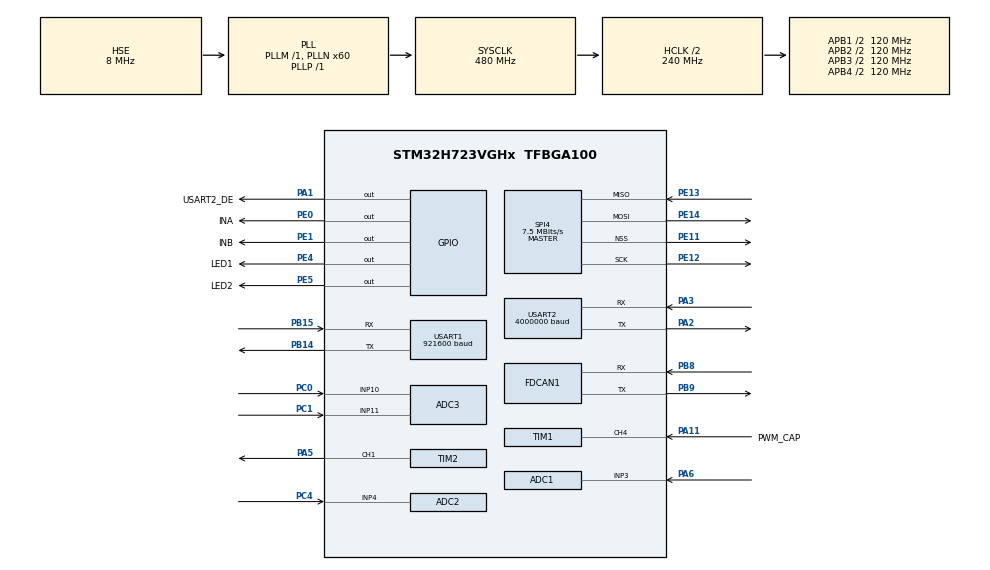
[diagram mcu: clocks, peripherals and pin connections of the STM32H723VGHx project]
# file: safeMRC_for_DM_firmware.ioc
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ADC1.Channel-0\#ChannelRegularConversion=ADC_CHANNEL_3
ADC1.ContinuousConvMode=ENABLE
ADC1.ConversionDataManagement=ADC_CONVERSIONDATA_DMA_CIRCULAR
ADC1.NbrOfConversionFlag=1
ADC1.OffsetNumber-0\#ChannelRegularConversion=ADC_OFFSET_NONE
ADC1.OffsetSignedSaturation-0\#ChannelRegularConversion=DISABLE
ADC1.OversamplingMode=ENABLE
ADC1.Rank-0\#ChannelRegularConversion=1
ADC1.Ratio=16
ADC1.RightBitShift=ADC_RIGHTBITSHIFT_4
ADC1.SamplingTime-0\#ChannelRegularConversion=ADC_SAMPLETIME_64CYCLES_5
ADC1.master=1
ADC2.Channel-1\#ChannelRegularConversion=ADC_CHANNEL_4
ADC2.ContinuousConvMode=ENABLE
ADC2.NbrOfConversionFlag=1
ADC2.OffsetNumber-1\#ChannelRegularConversion=ADC_OFFSET_NONE
ADC2.OffsetSignedSaturation-1\#ChannelRegularConversion=DISABLE
ADC2.OversamplingMode=ENABLE
ADC2.Rank-1\#ChannelRegularConversion=1
ADC2.RightBitShift=ADC_RIGHTBITSHIFT_4
ADC2.SamplingTime-1\#ChannelRegularConversion=ADC_SAMPLETIME_1CYCLE_5
ADC3.Channel-1\#ChannelRegularConversion=ADC_CHANNEL_11
ADC3.NbrOfConversionFlag=1
ADC3.OffsetNumber-1\#ChannelRegularConversion=ADC_OFFSET_NONE
ADC3.OffsetSign-1\#ChannelRegularConversion=ADC3_OFFSET_SIGN_NEGATIVE
ADC3.Rank-1\#ChannelRegularConversion=1
ADC3.SamplingTime-1\#ChannelRegularConversion=ADC3_SAMPLETIME_2CYCLES_5
CORTEX_M7.AccessPermission-Cortex_Memory_Protection_Unit_Region0_Settings=MPU_REGION_PRIV_RO
CORTEX_M7.AccessPermission_Spec=MPU_REGION_FULL_ACCESS
CORTEX_M7.BaseAddress-Cortex_Memory_Protection_Unit_Region0_Settings=0x08000000
CORTEX_M7.BaseAddress_Spec=0x024000000
CORTEX_M7.CPU_DCache=Disabled
CORTEX_M7.CPU_ICache=Disabled
CORTEX_M7.DisableExec_Spec=MPU_INSTRUCTION_ACCESS_ENABLE
CORTEX_M7.Enable-Cortex_Memory_Protection_Unit_Region0_Settings=MPU_REGION_ENABLE
CORTEX_M7.IsBufferable_Spec=MPU_ACCESS_BUFFERABLE
CORTEX_M7.IsCacheable-Cortex_Memory_Protection_Unit_Region0_Settings=MPU_ACCESS_CACHEABLE
CORTEX_M7.IsCacheable_Spec=MPU_ACCESS_CACHEABLE
CORTEX_M7.IsShareable_Spec=MPU_ACCESS_NOT_SHAREABLE
CORTEX_M7.MPU_Control=__NULL
CORTEX_M7.Size-Cortex_Memory_Protection_Unit_Region0_Settings=MPU_REGION_SIZE_1MB
CORTEX_M7.Size_Spec=MPU_REGION_SIZE_512MB
CORTEX_M7.SubRegionDisable_Spec=0x00
CORTEX_M7.TypeExtField-Cortex_Memory_Protection_Unit_Region0_Settings=MPU_TEX_LEVEL1
CORTEX_M7.TypeExtField_Spec=MPU_TEX_LEVEL1
CORTEX_M7.default_mode_Activation=0
Dma.ADC1.0.Direction=DMA_PERIPH_TO_MEMORY
Dma.ADC1.0.EventEnable=DISABLE
Dma.ADC1.0.FIFOMode=DMA_FIFOMODE_DISABLE
Dma.ADC1.0.Instance=DMA1_Stream0
Dma.ADC1.0.MemDataAlignment=DMA_MDATAALIGN_HALFWORD
Dma.ADC1.0.MemInc=DMA_MINC_ENABLE
Dma.ADC1.0.Mode=DMA_CIRCULAR
Dma.ADC1.0.PeriphDataAlignment=DMA_PDATAALIGN_HALFWORD
Dma.ADC1.0.PeriphInc=DMA_PINC_DISABLE
Dma.ADC1.0.Polarity=HAL_DMAMUX_REQ_GEN_RISING
Dma.ADC1.0.Priority=DMA_PRIORITY_LOW
Dma.ADC1.0.RequestNumber=1
Dma.ADC1.0.SignalID=NONE
Dma.ADC1.0.SyncEnable=DISABLE
Dma.ADC1.0.SyncPolarity=HAL_DMAMUX_SYNC_NO_EVENT
Dma.ADC1.0.SyncRequestNumber=1
Dma.ADC1.0.SyncSignalID=NONE
Dma.ADC2.7.Direction=DMA_PERIPH_TO_MEMORY
Dma.ADC2.7.EventEnable=DISABLE
Dma.ADC2.7.FIFOMode=DMA_FIFOMODE_DISABLE
Dma.ADC2.7.Instance=DMA1_Stream5
Dma.ADC2.7.MemDataAlignment=DMA_MDATAALIGN_HALFWORD
Dma.ADC2.7.MemInc=DMA_MINC_ENABLE
Dma.ADC2.7.Mode=DMA_CIRCULAR
Dma.ADC2.7.PeriphDataAlignment=DMA_PDATAALIGN_HALFWORD
Dma.ADC2.7.PeriphInc=DMA_PINC_DISABLE
Dma.ADC2.7.Polarity=HAL_DMAMUX_REQ_GEN_RISING
Dma.ADC2.7.Priority=DMA_PRIORITY_LOW
Dma.ADC2.7.RequestNumber=1
Dma.ADC2.7.SignalID=NONE
Dma.ADC2.7.SyncEnable=DISABLE
Dma.ADC2.7.SyncPolarity=HAL_DMAMUX_SYNC_NO_EVENT
Dma.ADC2.7.SyncRequestNumber=1
Dma.ADC2.7.SyncSignalID=NONE
Dma.Request0=ADC1
Dma.Request1=SPI4_RX
Dma.Request2=SPI4_TX
Dma.Request3=USART1_RX
Dma.Request4=USART1_TX
Dma.Request5=USART2_RX
Dma.Request6=USART2_TX
Dma.Request7=ADC2
Dma.SPI4_RX.1.Direction=DMA_PERIPH_TO_MEMORY
Dma.SPI4_RX.1.EventEnable=DISABLE
Dma.SPI4_RX.1.FIFOMode=DMA_FIFOMODE_DISABLE
Dma.SPI4_RX.1.Instance=DMA2_Stream3
Dma.SPI4_RX.1.MemDataAlignment=DMA_MDATAALIGN_BYTE
Dma.SPI4_RX.1.MemInc=DMA_MINC_ENABLE
Dma.SPI4_RX.1.Mode=DMA_NORMAL
Dma.SPI4_RX.1.PeriphDataAlignment=DMA_PDATAALIGN_BYTE
Dma.SPI4_RX.1.PeriphInc=DMA_PINC_DISABLE
Dma.SPI4_RX.1.Polarity=HAL_DMAMUX_REQ_GEN_RISING
Dma.SPI4_RX.1.Priority=DMA_PRIORITY_MEDIUM
Dma.SPI4_RX.1.RequestNumber=1
Dma.SPI4_RX.1.SignalID=NONE
Dma.SPI4_RX.1.SyncEnable=DISABLE
Dma.SPI4_RX.1.SyncPolarity=HAL_DMAMUX_SYNC_NO_EVENT
Dma.SPI4_RX.1.SyncRequestNumber=1
Dma.SPI4_RX.1.SyncSignalID=NONE
Dma.SPI4_TX.2.Direction=DMA_MEMORY_TO_PERIPH
Dma.SPI4_TX.2.EventEnable=DISABLE
Dma.SPI4_TX.2.FIFOMode=DMA_FIFOMODE_DISABLE
Dma.SPI4_TX.2.Instance=DMA2_Stream4
Dma.SPI4_TX.2.MemDataAlignment=DMA_MDATAALIGN_BYTE
Dma.SPI4_TX.2.MemInc=DMA_MINC_ENABLE
Dma.SPI4_TX.2.Mode=DMA_NORMAL
Dma.SPI4_TX.2.PeriphDataAlignment=DMA_PDATAALIGN_BYTE
Dma.SPI4_TX.2.PeriphInc=DMA_PINC_DISABLE
Dma.SPI4_TX.2.Polarity=HAL_DMAMUX_REQ_GEN_RISING
Dma.SPI4_TX.2.Priority=DMA_PRIORITY_MEDIUM
Dma.SPI4_TX.2.RequestNumber=1
Dma.SPI4_TX.2.SignalID=NONE
Dma.SPI4_TX.2.SyncEnable=DISABLE
Dma.SPI4_TX.2.SyncPolarity=HAL_DMAMUX_SYNC_NO_EVENT
Dma.SPI4_TX.2.SyncRequestNumber=1
Dma.SPI4_TX.2.SyncSignalID=NONE
Dma.USART1_RX.3.Direction=DMA_PERIPH_TO_MEMORY
Dma.USART1_RX.3.EventEnable=DISABLE
Dma.USART1_RX.3.FIFOMode=DMA_FIFOMODE_DISABLE
Dma.USART1_RX.3.Instance=DMA1_Stream1
Dma.USART1_RX.3.MemDataAlignment=DMA_MDATAALIGN_BYTE
Dma.USART1_RX.3.MemInc=DMA_MINC_ENABLE
Dma.USART1_RX.3.Mode=DMA_NORMAL
Dma.USART1_RX.3.PeriphDataAlignment=DMA_PDATAALIGN_BYTE
Dma.USART1_RX.3.PeriphInc=DMA_PINC_DISABLE
Dma.USART1_RX.3.Polarity=HAL_DMAMUX_REQ_GEN_RISING
Dma.USART1_RX.3.Priority=DMA_PRIORITY_MEDIUM
Dma.USART1_RX.3.RequestNumber=1
Dma.USART1_RX.3.SignalID=NONE
Dma.USART1_RX.3.SyncEnable=DISABLE
Dma.USART1_RX.3.SyncPolarity=HAL_DMAMUX_SYNC_NO_EVENT
Dma.USART1_RX.3.SyncRequestNumber=1
Dma.USART1_RX.3.SyncSignalID=NONE
Dma.USART1_TX.4.Direction=DMA_MEMORY_TO_PERIPH
Dma.USART1_TX.4.EventEnable=DISABLE
Dma.USART1_TX.4.FIFOMode=DMA_FIFOMODE_DISABLE
Dma.USART1_TX.4.Instance=DMA1_Stream2
Dma.USART1_TX.4.MemDataAlignment=DMA_MDATAALIGN_BYTE
Dma.USART1_TX.4.MemInc=DMA_MINC_ENABLE
Dma.USART1_TX.4.Mode=DMA_NORMAL
Dma.USART1_TX.4.PeriphDataAlignment=DMA_PDATAALIGN_BYTE
Dma.USART1_TX.4.PeriphInc=DMA_PINC_DISABLE
Dma.USART1_TX.4.Polarity=HAL_DMAMUX_REQ_GEN_RISING
Dma.USART1_TX.4.Priority=DMA_PRIORITY_MEDIUM
Dma.USART1_TX.4.RequestNumber=1
Dma.USART1_TX.4.SignalID=NONE
Dma.USART1_TX.4.SyncEnable=DISABLE
Dma.USART1_TX.4.SyncPolarity=HAL_DMAMUX_SYNC_NO_EVENT
Dma.USART1_TX.4.SyncRequestNumber=1
Dma.USART1_TX.4.SyncSignalID=NONE
Dma.USART2_RX.5.Direction=DMA_PERIPH_TO_MEMORY
Dma.USART2_RX.5.EventEnable=DISABLE
Dma.USART2_RX.5.FIFOMode=DMA_FIFOMODE_DISABLE
Dma.USART2_RX.5.Instance=DMA2_Stream0
Dma.USART2_RX.5.MemDataAlignment=DMA_MDATAALIGN_BYTE
Dma.USART2_RX.5.MemInc=DMA_MINC_ENABLE
Dma.USART2_RX.5.Mode=DMA_NORMAL
Dma.USART2_RX.5.PeriphDataAlignment=DMA_PDATAALIGN_BYTE
Dma.USART2_RX.5.PeriphInc=DMA_PINC_DISABLE
Dma.USART2_RX.5.Polarity=HAL_DMAMUX_REQ_GEN_RISING
Dma.USART2_RX.5.Priority=DMA_PRIORITY_VERY_HIGH
Dma.USART2_RX.5.RequestNumber=1
Dma.USART2_RX.5.SignalID=NONE
Dma.USART2_RX.5.SyncEnable=DISABLE
Dma.USART2_RX.5.SyncPolarity=HAL_DMAMUX_SYNC_NO_EVENT
Dma.USART2_RX.5.SyncRequestNumber=1
Dma.USART2_RX.5.SyncSignalID=NONE
Dma.USART2_TX.6.Direction=DMA_MEMORY_TO_PERIPH
Dma.USART2_TX.6.EventEnable=DISABLE
Dma.USART2_TX.6.FIFOMode=DMA_FIFOMODE_DISABLE
Dma.USART2_TX.6.Instance=DMA2_Stream1
Dma.USART2_TX.6.MemDataAlignment=DMA_MDATAALIGN_BYTE
Dma.USART2_TX.6.MemInc=DMA_MINC_ENABLE
Dma.USART2_TX.6.Mode=DMA_NORMAL
Dma.USART2_TX.6.PeriphDataAlignment=DMA_PDATAALIGN_BYTE
Dma.USART2_TX.6.PeriphInc=DMA_PINC_DISABLE
Dma.USART2_TX.6.Polarity=HAL_DMAMUX_REQ_GEN_RISING
Dma.USART2_TX.6.Priority=DMA_PRIORITY_HIGH
Dma.USART2_TX.6.RequestNumber=1
Dma.USART2_TX.6.SignalID=NONE
Dma.USART2_TX.6.SyncEnable=DISABLE
Dma.USART2_TX.6.SyncPolarity=HAL_DMAMUX_SYNC_NO_EVENT
Dma.USART2_TX.6.SyncRequestNumber=1
Dma.USART2_TX.6.SyncSignalID=NONE
FDCAN1.AutoRetransmission=ENABLE
FDCAN1.CalculateBaudRateNominal=1000000
FDCAN1.CalculateTimeBitNominal=1000
FDCAN1.CalculateTimeQuantumNominal=25.0
FDCAN1.DataPrescaler=3
FDCAN1.DataSyncJumpWidth=7
FDCAN1.DataTimeSeg1=32
FDCAN1.DataTimeSeg2=7
FDCAN1.NominalPrescaler=3
FDCAN1.NominalSyncJumpWidth=7
FDCAN1.NominalTimeSeg1=32
FDCAN1.NominalTimeSeg2=7
FDCAN1.ProtocolException=ENABLE
FDCAN1.RxFifo0ElmtsNbr=8
FDCAN1.StdFiltersNbr=1
FDCAN1.TxFifoQueueElmtsNbr=8
Mcu.Family=STM32H7
Mcu.Name=STM32H723VGHx
Mcu.Package=TFBGA100
NVIC.DMA1_Stream0_IRQn=true\:0\:0\:false\:false\:true\:false\:true\:true
NVIC.DMA1_Stream1_IRQn=true\:0\:0\:false\:false\:true\:false\:true\:true
NVIC.DMA1_Stream2_IRQn=true\:0\:0\:false\:false\:true\:false\:true\:true
NVIC.DMA1_Stream5_IRQn=true\:0\:0\:false\:false\:true\:false\:true\:true
NVIC.DMA2_Stream0_IRQn=true\:0\:0\:false\:false\:true\:false\:true\:true
NVIC.DMA2_Stream1_IRQn=true\:0\:0\:false\:false\:true\:false\:true\:true
NVIC.DMA2_Stream3_IRQn=true\:0\:0\:false\:false\:true\:false\:true\:true
NVIC.DMA2_Stream4_IRQn=true\:0\:0\:false\:false\:true\:false\:true\:true
NVIC.FDCAN1_IT0_IRQn=true\:0\:0\:false\:false\:true\:true\:true\:true
NVIC.FDCAN1_IT1_IRQn=true\:0\:0\:false\:false\:true\:true\:true\:true
NVIC.FDCAN_CAL_IRQn=true\:0\:0\:false\:false\:true\:true\:true\:true
NVIC.PriorityGroup=NVIC_PRIORITYGROUP_4
NVIC.SPI4_IRQn=true\:0\:0\:false\:false\:true\:false\:true\:true
NVIC.TIM1_CC_IRQn=true\:3\:0\:true\:false\:true\:true\:true\:true
NVIC.TIM4_IRQn=true\:6\:0\:true\:false\:true\:true\:true\:true
NVIC.TIM6_DAC_IRQn=true\:6\:0\:true\:false\:true\:true\:true\:true
NVIC.USART1_IRQn=true\:7\:0\:true\:false\:true\:false\:true\:true
NVIC.USART2_IRQn=true\:3\:0\:true\:false\:true\:false\:true\:true
PA1.GPIO_Label=USART2_DE
PA1.GPIO_Speed=GPIO_SPEED_FREQ_VERY_HIGH
PA1.PinState=GPIO_PIN_RESET
PA1.Signal=GPIO_Output
PA11.GPIO_Label=PWM_CAP
PA11.Signal=S_TIM1_CH4
PA13(JTMS/SWDIO).Mode=Serial_Wire
PA13(JTMS/SWDIO).Signal=DEBUG_JTMS-SWDIO
PA14(JTCK/SWCLK).Mode=Serial_Wire
PA14(JTCK/SWCLK).Signal=DEBUG_JTCK-SWCLK
PA2.GPIO_PuPd=GPIO_NOPULL
PA2.GPIO_Speed=GPIO_SPEED_FREQ_VERY_HIGH
PA2.Mode=Asynchronous
PA2.Signal=USART2_TX
PA3.GPIO_ModeDefaultPP=GPIO_MODE_AF_PP
PA3.GPIO_PuPd=GPIO_PULLUP
PA3.GPIO_Speed=GPIO_SPEED_FREQ_VERY_HIGH
PA3.Mode=Asynchronous
PA3.Signal=USART2_RX
PA5.Signal=S_TIM2_CH1_ETR
PA6.Signal=ADCx_INP3
PB14.GPIO_PuPd=GPIO_PULLUP
PB14.GPIO_Speed=GPIO_SPEED_FREQ_VERY_HIGH
PB14.Mode=Asynchronous
PB14.Signal=USART1_TX
PB15.Mode=Asynchronous
PB15.Signal=USART1_RX
PB8.Mode=FDCAN_Activate
PB8.Signal=FDCAN1_RX
PB9.Mode=FDCAN_Activate
PB9.Signal=FDCAN1_TX
PC0.Signal=ADCx_INP10
PC1.Signal=ADCx_INP11
PC4.Signal=ADCx_INP4
PE0.GPIO_Label=INA
PE0.GPIO_PuPd=GPIO_PULLDOWN
PE0.GPIO_Speed=GPIO_SPEED_FREQ_HIGH
PE0.Signal=GPIO_Output
PE1.GPIO_Label=INB
PE1.GPIO_PuPd=GPIO_PULLDOWN
PE1.GPIO_Speed=GPIO_SPEED_FREQ_HIGH
PE1.Signal=GPIO_Output
PE11.Mode=NSS_Signal_Hard_Output
PE11.Signal=SPI4_NSS
PE12.GPIO_PuPd=GPIO_PULLUP
PE12.GPIO_Speed=GPIO_SPEED_FREQ_HIGH
PE12.Mode=Full_Duplex_Master
PE12.Signal=SPI4_SCK
PE13.GPIO_Speed=GPIO_SPEED_FREQ_HIGH
PE13.Mode=Full_Duplex_Master
PE13.Signal=SPI4_MISO
PE14.GPIO_PuPd=GPIO_PULLUP
PE14.GPIO_Speed=GPIO_SPEED_FREQ_HIGH
PE14.Mode=Full_Duplex_Master
PE14.Signal=SPI4_MOSI
PE4.GPIO_Label=LED1
PE4.GPIO_PuPd=GPIO_PULLDOWN
PE4.Signal=GPIO_Output
PE5.GPIO_Label=LED2
PE5.GPIO_PuPd=GPIO_PULLDOWN
PE5.Signal=GPIO_Output
PH0-OSC_IN.Mode=HSE-External-Oscillator
PH0-OSC_IN.Signal=RCC_OSC_IN
PH1-OSC_OUT.Mode=HSE-External-Oscillator
PH1-OSC_OUT.Signal=RCC_OSC_OUT
ProjectManager.HeapSize=0x200
ProjectManager.StackSize=0x400
ProjectManager.TargetToolchain=CMake
RCC.ADCFreq_Value=96000000
RCC.APB1Freq_Value=120000000
RCC.APB2Freq_Value=120000000
RCC.APB3Freq_Value=120000000
RCC.APB4Freq_Value=120000000
RCC.CortexFreq_Value=480000000
RCC.D1PPRE=RCC_APB3_DIV2
RCC.D2PPRE1=RCC_APB1_DIV2
RCC.D2PPRE2=RCC_APB2_DIV2
RCC.D3PPRE=RCC_APB4_DIV2
RCC.DIVM1=1
RCC.DIVM2=1
RCC.DIVN1=60
RCC.DIVN2=24
RCC.DIVP1=1
RCC.DIVQ1=4
RCC.HCLKFreq_Value=240000000
RCC.HPRE=RCC_HCLK_DIV2
RCC.HSE_VALUE=8000000
RCC.PLL2FRACN=0
RCC.PLL3FRACN=0
RCC.PLLFRACN=0
RCC.PLLSourceVirtual=RCC_PLLSOURCE_HSE
RCC.SYSCLKFreq_VALUE=480000000
RCC.SYSCLKSource=RCC_SYSCLKSOURCE_PLLCLK
RCC.USBFreq_Value=120000000
SH.ADCx_INP10.0=ADC3_INP10,IN10-Single-Ended
SH.ADCx_INP11.0=ADC3_INP11,IN11-Single-Ended
SH.ADCx_INP3.0=ADC1_INP3,IN3-Single-Ended
SH.ADCx_INP4.0=ADC2_INP4,IN4-Single-Ended
SH.S_TIM1_CH4.0=TIM1_CH4,Input_Capture4_from_TI4
SH.S_TIM2_CH1_ETR.0=TIM2_CH1,PWM Generation1 CH1
SPI4.BaudRatePrescaler=SPI_BAUDRATEPRESCALER_16
SPI4.CLKPhase=SPI_PHASE_2EDGE
SPI4.CLKPolarity=SPI_POLARITY_HIGH
SPI4.CalculateBaudRate=7.5 MBits/s
SPI4.DataSize=SPI_DATASIZE_8BIT
SPI4.Direction=SPI_DIRECTION_2LINES
SPI4.Mode=SPI_MODE_MASTER
SPI4.VirtualNSS=VM_NSSHARD
SPI4.VirtualType=VM_MASTER
TIM1.Channel-Input_Capture4_from_TI4=TIM_CHANNEL_4
TIM1.Period=0xffff
TIM1.Prescaler=3
TIM2.Channel-PWM\ Generation1\ CH1=TIM_CHANNEL_1
TIM2.Period=0xffff
TIM2.Prescaler=9
TIM4.Period=23999
TIM6.Period=23999
TIM6.Prescaler=9
USART1.BaudRate=921600
USART1.VirtualMode-Asynchronous=VM_ASYNC
USART2.BaudRate=4000000
USART2.VirtualMode-Asynchronous=VM_ASYNC
VP_MEMORYMAP_VS_MEMORYMAP.Mode=CurAppReg
VP_TIM1_VS_ClockSourceINT.Mode=Internal
VP_TIM2_VS_ClockSourceINT.Mode=Internal
VP_TIM4_VS_ClockSourceINT.Mode=Internal
VP_TIM6_VS_ClockSourceINT.Mode=Enable_Timer
board=custom

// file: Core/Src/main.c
/* USER CODE BEGIN Header */
/**
  ******************************************************************************
  * @file           : main.c
  * @brief          : Main program body
  ******************************************************************************
  * @attention
  *
  * Copyright (c) 2025 STMicroelectronics.
  * All rights reserved.
  *
  * This software is licensed under terms that can be found in the LICENSE file
  * in the root directory of this software component.
  * If no LICENSE file comes with this software, it is provided AS-IS.
  *
  ******************************************************************************
  */
/* USER CODE END Header */
#include "main.h"
#include "adc.h"
#include "dma.h"
#include "fdcan.h"
#include "memorymap.h"
#include "spi.h"
#include "tim.h"
#include "usart.h"
#include "gpio.h"

/* USER CODE BEGIN Includes */
#include "drv_mrc.h"
#include "stdio.h"
#include "string.h"
#include "flash.h"
#include "mrc_debugcli.h"
#include "bsp_fdcan.h"
#include "mrc_com_backend.h"
#include "can_com.h"
/* USER CODE END Includes */

/* USER CODE BEGIN PTD */
Device_MRC_t MRC;
/* USER CODE END PTD */

void SystemClock_Config(void);
void PeriphCommonClock_Config(void);

int main(void)
{

  /* MCU Configuration--------------------------------------------------------*/

  /* Reset of all peripherals, Initializes the Flash interface and the Systick. */
  HAL_Init();

  /* Configure the system clock */
  SystemClock_Config();

  /* Configure the peripherals common clocks */
  PeriphCommonClock_Config();

  /* Initialize all configured peripherals */
  MX_GPIO_Init();
  MX_DMA_Init();
  MX_ADC1_Init();
  MX_SPI4_Init();
  MX_TIM1_Init();
  MX_TIM2_Init();
  MX_TIM4_Init();
  MX_TIM6_Init();
  MX_USART1_UART_Init();
  MX_USART2_UART_Init();
  MX_ADC2_Init();
  MX_ADC3_Init();
  MX_FDCAN1_Init();
  /* USER CODE BEGIN 2 */
  bsp_fdcan_set_baud(&hfdcan1, CAN_CLASS, CAN_BR_1M);
  bsp_can_init();
  MRC_Init((uint8_t *)"safeMRC", &MRC, 1);
  // 初始化UART4调试指令集
  MRC_DebugCLI_Init(&huart1);
  /* USER CODE END 2 */

  /* Infinite loop */
  while (1)
  {

    /* USER CODE BEGIN 3 */

    if(MRC.control_loop_flag == 1) // 1kHz contorl loop
    {
      MRC.control_loop_flag = 0;
      MRC_StateMachine_Task1ms(&MRC.statemachine);
      //printf("a, ,b, c: %.3f, %.3f, %.3f\n", MRC.filtered_coil_current, MRC.des_coil_current, MRC.com.fbk_msg.present_current);
      // printf("Actual coil current, filtered coil current: %.3f, %.3f\n", MRC.actual_coil_current, MRC.filtered_coil_current);
      //      MRC.print_count++;
      //      if(MRC.print_count == 1000)
      //      {
        //        MRC.print_count = 0;
        //        printf("angle1, angle2, freq: %.6f, %.6f, %.1f\n", MRC.Encoder.raw_continuous_angle, MRC.Encoder.filtered_angle, MRC.Encoder.real_freq);
        //      }
        // printf("Coil current, AnglarVelocity, Encoder postion(deg) and filtered_angle(deg) with period and high_time: %.3f, %.3f, %.3f, %.3f, %d, %d\n", MRC.actual_coil_current, MRC.Encoder.AngularVelocity, MRC.Encoder.raw_angle, MRC.Encoder.filtered_angle, MRC.Encoder.Encoder_Duty.Period, MRC.Encoder.Encoder_Duty.HighTime);
      }
      if(MRC.coil_current_update_flag == 1) // 10kHZ coil current update
      {
        // if(MRC.Encoder.Encoder_Duty.CapFlag == 1)
        // {
          //   Encoder_Calibrate_n_Filter(&MRC.Encoder);
          // }

      MRC_CoilCurrentControl_Update(&MRC);
#if (MRC_COM_BACKEND == MRC_COM_RS485)
      MRC_Com_Process(&MRC);
#elif (MRC_COM_BACKEND == MRC_COM_CAN)
      MRC_Can_Process(&MRC);
#endif
      Encoder_Calibrate_n_Filter(&MRC.Encoder);
      //MRC_collision_detect(&MRC);
      MRC.filtered_coil_current = MRC_Update_Coil_Current(&MRC);
      MRC.coil_current_update_flag = 0;
    }
  }
  /* USER CODE END 3 */
}

void SystemClock_Config(void)
{
  RCC_OscInitTypeDef RCC_OscInitStruct = {0};
  RCC_ClkInitTypeDef RCC_ClkInitStruct = {0};

  /** Supply configuration update enable
  */
  HAL_PWREx_ConfigSupply(PWR_LDO_SUPPLY);

  /** Configure the main internal regulator output voltage
  */
  __HAL_PWR_VOLTAGESCALING_CONFIG(PWR_REGULATOR_VOLTAGE_SCALE0);

  while(!__HAL_PWR_GET_FLAG(PWR_FLAG_VOSRDY)) {}

  /** Initializes the RCC Oscillators according to the specified parameters
  * in the RCC_OscInitTypeDef structure.
  */
  RCC_OscInitStruct.OscillatorType = RCC_OSCILLATORTYPE_HSE;
  RCC_OscInitStruct.HSEState = RCC_HSE_ON;
  RCC_OscInitStruct.PLL.PLLState = RCC_PLL_ON;
  RCC_OscInitStruct.PLL.PLLSource = RCC_PLLSOURCE_HSE;
  RCC_OscInitStruct.PLL.PLLM = 1;
  RCC_OscInitStruct.PLL.PLLN = 60;
  RCC_OscInitStruct.PLL.PLLP = 1;
  RCC_OscInitStruct.PLL.PLLQ = 4;
  RCC_OscInitStruct.PLL.PLLR = 2;
  RCC_OscInitStruct.PLL.PLLRGE = RCC_PLL1VCIRANGE_3;
  RCC_OscInitStruct.PLL.PLLVCOSEL = RCC_PLL1VCOWIDE;
  RCC_OscInitStruct.PLL.PLLFRACN = 0;
  if (HAL_RCC_OscConfig(&RCC_OscInitStruct) != HAL_OK)
  {
    Error_Handler();
  }

  /** Initializes the CPU, AHB and APB buses clocks
  */
  RCC_ClkInitStruct.ClockType = RCC_CLOCKTYPE_HCLK|RCC_CLOCKTYPE_SYSCLK
                              |RCC_CLOCKTYPE_PCLK1|RCC_CLOCKTYPE_PCLK2
                              |RCC_CLOCKTYPE_D3PCLK1|RCC_CLOCKTYPE_D1PCLK1;
  RCC_ClkInitStruct.SYSCLKSource = RCC_SYSCLKSOURCE_PLLCLK;
  RCC_ClkInitStruct.SYSCLKDivider = RCC_SYSCLK_DIV1;
  RCC_ClkInitStruct.AHBCLKDivider = RCC_HCLK_DIV2;
  RCC_ClkInitStruct.APB3CLKDivider = RCC_APB3_DIV2;
  RCC_ClkInitStruct.APB1CLKDivider = RCC_APB1_DIV2;
  RCC_ClkInitStruct.APB2CLKDivider = RCC_APB2_DIV2;
  RCC_ClkInitStruct.APB4CLKDivider = RCC_APB4_DIV2;

  if (HAL_RCC_ClockConfig(&RCC_ClkInitStruct, FLASH_LATENCY_3) != HAL_OK)
  {
    Error_Handler();
  }
}

void PeriphCommonClock_Config(void)
{
  RCC_PeriphCLKInitTypeDef PeriphClkInitStruct = {0};

  /** Initializes the peripherals clock
  */
  PeriphClkInitStruct.PeriphClockSelection = RCC_PERIPHCLK_ADC;
  PeriphClkInitStruct.PLL2.PLL2M = 1;
  PeriphClkInitStruct.PLL2.PLL2N = 24;
  PeriphClkInitStruct.PLL2.PLL2P = 2;
  PeriphClkInitStruct.PLL2.PLL2Q = 2;
  PeriphClkInitStruct.PLL2.PLL2R = 2;
  PeriphClkInitStruct.PLL2.PLL2RGE = RCC_PLL2VCIRANGE_3;
  PeriphClkInitStruct.PLL2.PLL2VCOSEL = RCC_PLL2VCOWIDE;
  PeriphClkInitStruct.PLL2.PLL2FRACN = 0;
  PeriphClkInitStruct.AdcClockSelection = RCC_ADCCLKSOURCE_PLL2;
  if (HAL_RCCEx_PeriphCLKConfig(&PeriphClkInitStruct) != HAL_OK)
  {
    Error_Handler();
  }
}

/* USER CODE BEGIN 4 */
void HAL_TIM_IC_CaptureCallback(TIM_HandleTypeDef *htim)
{
	if (htim->Instance == TIM1)
	{
		if (htim->Channel == HAL_TIM_ACTIVE_CHANNEL_4)
		{
			CaptureDutyCycle(&MRC.Encoder);
		}
	}
}

void HAL_TIM_PeriodElapsedCallback(TIM_HandleTypeDef *htim)
{
	if (htim->Instance == TIM6)
	{
        if (MRC.control_loop_flag == 0)
        {
          MRC.control_loop_flag = 1;
        }
    }
  if (htim->Instance == TIM4)
  {
    MRC.coil_current_update_flag = 1;
  }

}

void HAL_UART_TxCpltCallback(UART_HandleTypeDef *huart)
{
  if(huart->Instance == USART2)
  {
    MRC_Com_Rx_Enable();
  }
}

void HAL_UART_ErrorCallback(UART_HandleTypeDef *huart)
{
  if(huart->Instance == USART2)
  {
    RS485_HandleUartError(huart, MRC.com.cmd_msg_buffer, MRC.com.cmd_buffer_len);
  }
}

void HAL_UARTEx_RxEventCallback(UART_HandleTypeDef *huart, uint16_t Size)
{
  if (huart->Instance == USART2)
  {
    /* Clear ORE/FE first */
    // if (__HAL_UART_GET_FLAG(huart, UART_FLAG_ORE) != RESET)
    // {
    //   __HAL_UART_CLEAR_FLAG(huart, UART_CLEAR_OREF);
    // }
    // if (__HAL_UART_GET_FLAG(huart, UART_FLAG_FE) != RESET)
    // {
    //   __HAL_UART_CLEAR_FLAG(huart, UART_CLEAR_FEF);
    // }

    if(huart->RxEventType == HAL_UART_RXEVENT_IDLE)
    {
      MRC.com.rx_time = getHighResTime_ns();

      /* Only accept complete 8-byte command for this device with valid CRC */
      if (Size == MRC.com.RxLen &&
          MRC.com.cmd_msg_buffer[0] == 0xFE &&
          MRC.com.cmd_msg_buffer[1] == 0xEE &&
          MRC.com.cmd_msg_buffer[2] == MRC.com.id)
      {
        memcpy(&MRC.com.cmd_msg, MRC.com.cmd_msg_buffer, MRC.com.RxLen);
        uint16_t crc_calculated = crc_ccitt(0xFFFF, (uint8_t *)&MRC.com.cmd_msg, MRC.com.RxLen - 2);
        uint16_t crc_received = MRC.com.cmd_msg.CRC16Data;
        if (crc_calculated == crc_received)
        {
          MRC.com.RxFlag = 1;
          MRC_send_data(&MRC);
        }
      }

      /* Smooth re-arm: if RXNE active, delay a short while to avoid mid-frame */
      if (__HAL_UART_GET_FLAG(huart, UART_FLAG_RXNE) != RESET)
      {
        for (volatile int i = 0; i < 800; ++i) { __NOP(); }
      }

      /* Rearm ReceiveToIdle DMA for next frames */
      memset(MRC.com.cmd_msg_buffer, 0, MRC_CMD_MSG_BUFFER_SIZE);
      if(HAL_UARTEx_ReceiveToIdle_DMA(MRC.com.mrc_huart, MRC.com.cmd_msg_buffer, MRC_CMD_MSG_BUFFER_SIZE) != HAL_OK)
      {
        printf("ReceiveToIdle DMA failed!\n");
      }
      __HAL_DMA_DISABLE_IT(MRC.com.mrc_huart->hdmarx, DMA_IT_HT);
    }
  }
}

void fdcan1_rx_callback(void)
{
    uint16_t rec_id;
    uint8_t  rx_data[8] = {0};
    /* Always dequeue the frame from FIFO0 regardless of backend */
    fdcanx_receive(&hfdcan1, &rec_id, rx_data);

#if (MRC_COM_BACKEND == MRC_COM_CAN)
    if (CAN_Com_UnpackCmd(&MRC.can_com, rec_id, rx_data) == 0)
    {
        MRC.can_com.rx_time = getHighResTime_ns();
        MRC.can_com.RxFlag  = 1;
        MRC_Can_send_data(&MRC);  /* immediate response, mirrors RS485 pattern */
    }
#endif
}

int fputc(int ch, FILE *f)
{

	HAL_UART_Transmit(&huart1, (uint8_t *)&ch, 1, 0xffff);

	return ch;
}
/* USER CODE END 4 */

void Error_Handler(void)
{
  __disable_irq();
  while (1)
  {
  }
}
